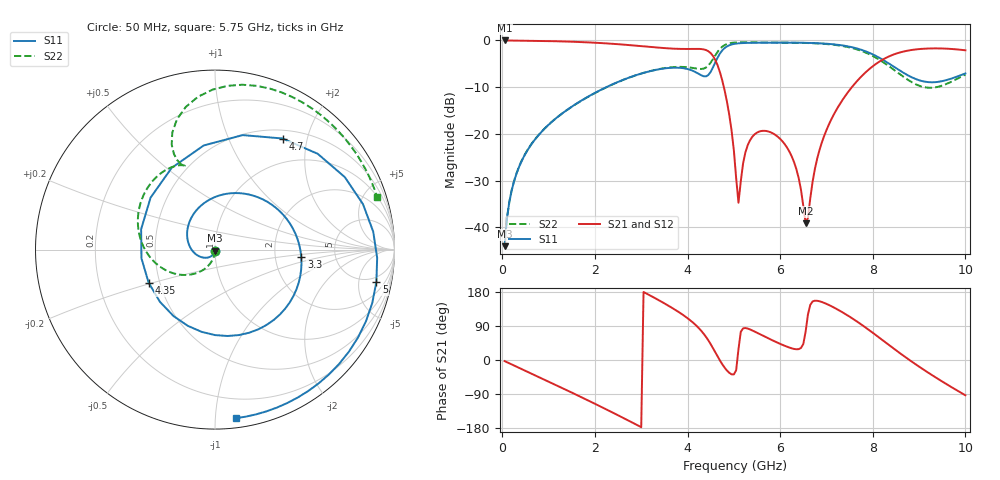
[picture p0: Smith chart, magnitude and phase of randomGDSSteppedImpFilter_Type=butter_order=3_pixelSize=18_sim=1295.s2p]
! freq	dB(S11)	phase(S11)	dB(S12)	phase(S12)
!  dB(S21)	phase(S21)	dB(S22)	phase(S22)
!S-par simulation data
#  GHz  S  DB  R 50
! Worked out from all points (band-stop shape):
!   200 points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, 50 MHz to 10 GHz, reference 50 ohm
!   highest |S21| = 0.00 dB at 50 MHz (marker M1); lowest = -39.1 dB at 6.55 GHz (marker M2)
!   |S21| within 3 dB of the highest: start of sweep to 4.524 GHz; 8.451 GHz to end of sweep
!   lowest |S11| = -44.0 dB at 50 MHz (marker M3), VSWR 1.01, Z = 50 - j0.628 ohm
!   |S11| at or under -10 dB: start of sweep to 2.246 GHz
!   |S22| runs from -44.0 to -0.4 dB; largest |S21 - S12| = 0
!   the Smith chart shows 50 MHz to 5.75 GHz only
!   S11 on the Smith chart (normalised r, x): 50 MHz: 1.00, -0.01; 3.3 GHz: 2.83, -0.31; 4.35 GHz: 0.43, -0.19; 4.7 GHz: 0.62, +1.60; 5 GHz: 3.78, -8.49; 5.75 GHz: 0.06, -1.13
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0.05  -44.03 -91.8  -0.00 -2.9  -0.00 -2.9  -43.97 -88.8
0.45  -25.17 -129.0  -0.05 -25.6  -0.05 -25.6  -25.11 -102.9
1.75  -12.62 119.7  -0.37 -100.6  -0.37 -100.6  -12.65 -142.9
2.6  -8.47 50.6  -0.88 -152.1  -0.88 -152.1  -8.49 -176.4
3.3  -6.33 -5.0  -1.48 163.1  -1.48 163.1  -6.31 150.2
3.4  -6.14 -13.2  -1.57 156.4  -1.57 156.4  -6.10 145.2
4.05  -6.26 -81.8  -1.82 105.6  -1.82 105.6  -5.79 114.2
4.35  -7.67 -153.4  -1.92 69.0  -1.92 69.0  -6.02 110.6
4.5  -6.72 141.1  -2.71 41.8  -2.71 41.8  -4.74 113.3
4.7  -2.80 58.7  -6.80 -1.3  -6.80 -1.3  -1.81 101.6
5  -0.75 -11.3  -23.49 -38.1  -23.49 -38.1  -0.47 71.2
5.05  -0.67 -18.7  -29.45 -27.0  -29.45 -27.0  -0.43 66.9
5.1  -0.62 -25.5  -34.74 28.6  -34.74 28.6  -0.42 62.8
5.3  -0.52 -47.6  -22.41 83.0  -22.41 83.0  -0.41 47.8
5.75  -0.48 -83.0  -19.50 56.8  -19.50 56.8  -0.45 18.1
6.3  -0.48 -117.4  -26.03 29.2  -26.03 29.2  -0.49 -16.2
6.55  -0.51 -132.5  -39.11 75.0  -39.11 75.0  -0.54 -31.9
6.7  -0.55 -141.7  -30.28 154.5  -30.28 154.5  -0.59 -41.5
7.45  -1.24 166.1  -11.27 118.2  -11.27 118.2  -1.39 -93.8
8.35  -4.95 82.3  -3.42 39.6  -3.42 39.6  -5.52 -169.8
9.05  -8.66 16.6  -1.81 -21.6  -1.81 -21.6  -9.85 125.5
10  -7.06 -48.2  -2.12 -93.1  -2.12 -93.1  -7.30 37.6
